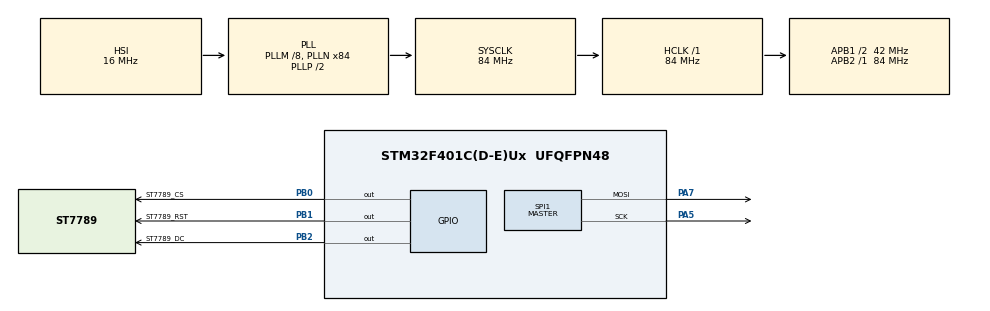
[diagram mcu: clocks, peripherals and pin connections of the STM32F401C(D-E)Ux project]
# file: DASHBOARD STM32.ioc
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Mcu.Family=STM32F4
Mcu.Name=STM32F401C(D-E)Ux
Mcu.Package=UFQFPN48
NVIC.PriorityGroup=NVIC_PRIORITYGROUP_4
PA5.Mode=TX_Only_Simplex_Unidirect_Master
PA5.Signal=SPI1_SCK
PA7.Mode=TX_Only_Simplex_Unidirect_Master
PA7.Signal=SPI1_MOSI
PB0.GPIO_Label=ST7789_CS
PB0.Signal=GPIO_Output
PB1.GPIO_Label=ST7789_RST
PB1.Signal=GPIO_Output
PB2.GPIO_Label=ST7789_DC
PB2.Signal=GPIO_Output
PH0\ -\ OSC_IN.Mode=HSE-External-Oscillator
PH0\ -\ OSC_IN.Signal=RCC_OSC_IN
PH1\ -\ OSC_OUT.Mode=HSE-External-Oscillator
PH1\ -\ OSC_OUT.Signal=RCC_OSC_OUT
ProjectManager.HeapSize=0x200
ProjectManager.StackSize=0x400
ProjectManager.TargetToolchain=STM32CubeIDE
RCC.48MHZClocksFreq_Value=42000000
RCC.AHBFreq_Value=84000000
RCC.APB1CLKDivider=RCC_HCLK_DIV2
RCC.APB1Freq_Value=42000000
RCC.APB1TimFreq_Value=84000000
RCC.APB2Freq_Value=84000000
RCC.APB2TimFreq_Value=84000000
RCC.CortexFreq_Value=84000000
RCC.HCLKFreq_Value=84000000
RCC.HSE_VALUE=25000000
RCC.HSI_VALUE=16000000
RCC.LSE_VALUE=32768
RCC.PLLM=8
RCC.PLLN=84
RCC.SYSCLKFreq_VALUE=84000000
RCC.SYSCLKSource=RCC_SYSCLKSOURCE_PLLCLK
RCC.VCOOutputFreq_Value=168000000
SPI1.CLKPhase=SPI_PHASE_2EDGE
SPI1.CLKPolarity=SPI_POLARITY_HIGH
SPI1.Direction=SPI_DIRECTION_2LINES
SPI1.Mode=SPI_MODE_MASTER
SPI1.VirtualType=VM_MASTER
board=custom

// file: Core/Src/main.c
/* USER CODE BEGIN Header */
/**
  ******************************************************************************
  * @file           : main.c
  * @brief          : Main program body
  ******************************************************************************
  * @attention
  *
  * Copyright (c) 2023 STMicroelectronics.
  * All rights reserved.
  *
  * This software is licensed under terms that can be found in the LICENSE file
  * in the root directory of this software component.
  * If no LICENSE file comes with this software, it is provided AS-IS.
  *
  ******************************************************************************
  */
/* USER CODE END Header */
#include "main.h"

/* USER CODE BEGIN Includes */
#include "math.h"
#include "st7789.h"
#include "stdio.h"
#include <stdlib.h>

#define RED2RED 0
#define GREEN2GREEN 1
#define BLUE2BLUE 2
#define BLUE2RED 3
#define GREEN2RED 4
#define RED2GREEN 5
#define BWHITE 6
//#define Aqua 7

#define BYELLOW 8

uint16_t color2,color1;

uint16_t RGB(uint8_t r, uint8_t g, uint8_t b)
{
	return ((r & 0xF8) << 8) | ((g & 0xFC) << 3) | (b >> 3);
}
//

int cx=80;
int cy=84;
int r=68;
float x[360]; //outer points of Speed gaouges
float y[360];
float px[360]; //ineer point of Speed gaouges
float py[360];
float lx[360]; //text of Speed gaouges
float ly[360];
float nx[360]; //needle low of Speed gaouges
float ny[360];
float x2[360]; //outer points of RPM gaouges
float y2[360];
float px2[360]; //ineer point of RPM gaouges
float py2[360];
float lx2[360]; //text of RPM gaouges
float ly2[360];
float nx2[360]; //needle low of RPM gaouges
float ny2[360];
float sA;
float rA;
float rad=0.01745;

float speedAngle=0; //...speed variable 0-240
float rpmAngle=5;  //.....RPM variable 0-9

char buf[20];

/* USER CODE END Includes */

SPI_HandleTypeDef hspi1;

void SystemClock_Config(void);
static void MX_GPIO_Init(void);
static void MX_SPI1_Init(void);

int main(void)
{

  /* MCU Configuration--------------------------------------------------------*/

  /* Reset of all peripherals, Initializes the Flash interface and the Systick. */
  HAL_Init();

  /* Configure the system clock */
  SystemClock_Config();

  /* Initialize all configured peripherals */
  MX_GPIO_Init();
  MX_SPI1_Init();
  /* USER CODE BEGIN 2 */
  ST7789_Init();
//	IIC_Init();

//	unsigned int x,y;
//	char buf[20];

//	ST7789_Test();

  int a=120;
  for(int i=0;i<360;i++)
    {
       x[i]=((r-10)*cos(rad*a))+cx;
       y[i]=((r-10)*sin(rad*a))+cy;
       px[i]=((r-14)*cos(rad*a))+cx;
       py[i]=((r-14)*sin(rad*a))+cy;
       lx[i]=((r-24)*cos(rad*a))+cx;
       ly[i]=((r-24)*sin(rad*a))+cy;
       nx[i]=((r-36)*cos(rad*a))+cx;
       ny[i]=((r-36)*sin(rad*a))+cy;
       x2[i]=((r-10)*cos(rad*a))+320-cx;
       y2[i]=((r-10)*sin(rad*a))+cy;
       px2[i]=((r-14)*cos(rad*a))+320-cx;
       py2[i]=((r-14)*sin(rad*a))+cy;
       lx2[i]=((r-24)*cos(rad*a))+320-cx;
       ly2[i]=((r-24)*sin(rad*a))+cy;
       nx2[i]=((r-36)*cos(rad*a))+320-cx;
       ny2[i]=((r-36)*sin(rad*a))+cy;

       a++;
       if(a==360)
       a=0;
    }

  ST7789_Fill_Color(BLACK);
  ringMeter(1020, 0, 1020, 5, 10, 75,3, Aqua);
  ringMeter(1020, 0, 1020, 165, 10, 75,3, Aqua);

  ringMeter1(0, 0, 1020, 13, 18, 67,2,WHITE, BWHITE);
  ringMeter1(0, 0, 1020, 173, 18, 67,2,WHITE, BWHITE);

	  ringMeter1(825, 0, 1020, 20, 25, 60,2,MAGENTA, BWHITE);

//	  ringMeter1(800, 0, 1020, 180, 25, 60,2,MAGENTA,BWHITE);

	     for(int i=0;i<26;i++){
	     if(i<20) {color1=Aqua; color2=WHITE;} else {color1=MAGENTA; color2=MAGENTA;}

	  if(i%2==0) {
		  ST7789_DrawLine(x[i*12],y[i*12],px[i*12],py[i*12],color1);

	  sprintf(buf, "%d", i);
	  ST7789_WriteString(lx[i*12]-5, ly[i*12]-5, buf, Font_7x10, YELLOW, BLACK);
	  }else
		  ST7789_DrawLine(x[i*12],y[i*12],px[i*12],py[i*12],color2);
	  }

	      for(int i=0;i<19;i++){
	      if(i<20) {color1=Aqua; color2=WHITE;} else {color1=MAGENTA; color2=MAGENTA;}

	  if(i%2==0) {
		  ST7789_DrawLine(x2[i*16],y2[i*16],px2[i*16],py2[i*16],color1);

	  sprintf(buf, "%d", i/2);
	  ST7789_WriteString(lx2[i*16]-3, ly2[i*16]-3, buf, Font_7x10, YELLOW, BLACK);
	  }else
		  ST7789_DrawLine(x2[i*16],y2[i*16],px2[i*16],py2[i*16],color2);
	  }

	  ST7789_WriteString(60, 140, "SPEED", Font_7x10, YELLOW, BLACK);
	  ST7789_WriteString(60, 150, "x10", Font_7x10, YELLOW, BLACK);

	  ST7789_WriteString(225, 140, "RPM", Font_7x10, YELLOW, BLACK);
	  ST7789_WriteString(225, 150, "x1000", Font_7x10, YELLOW, BLACK);

	  fillTriangle(130, 15, 150, 5, 150, 25, BLUE);
	  fillTriangle(170, 5, 170, 25, 190, 15, BLUE);

  /* USER CODE END 2 */

  /* Infinite loop */
  while (1)
  {

	  for (int i = 0; i <= 1019; i+=50) {

		    ringMeter(i, 0, 1020, 50, 55, 30,7, GREEN2RED);
		    ringMeter(i, 0, 1020, 210, 55, 30,7, GREEN2RED);

			  fillTriangle(130, 15, 150, 5, 150, 25, BLUE);
			  fillTriangle(170, 5, 170, 25, 190, 15, BLUE);
			  ST7789_DrawFilledCircle(310, 10, 5, RED);
			  ST7789_DrawFilledRectangle(0, 5, 10, 10, GREEN);

			  HAL_Delay(300);
			  fillTriangle(130, 15, 150, 5, 150, 25, YELLOW);
			  fillTriangle(170, 5, 170, 25, 190, 15, YELLOW);
			  ST7789_DrawFilledCircle(310, 10, 5, BLACK);
			  ST7789_DrawFilledRectangle(0, 5, 10, 10, BLACK);

			  HAL_Delay(300);
			  fillTriangle(130, 15, 150, 5, 150, 25, BLUE);
			  fillTriangle(170, 5, 170, 25, 190, 15, BLUE);
			  ST7789_DrawFilledCircle(310, 10, 5, RED);
			  ST7789_DrawFilledRectangle(0, 5, 10, 10, GREEN);

	  }

//	  ringMeter(500, 0, 1020, 100, 120, 60, BLUE2BLUE);
  }
}

void SystemClock_Config(void)
{
  RCC_OscInitTypeDef RCC_OscInitStruct = {0};
  RCC_ClkInitTypeDef RCC_ClkInitStruct = {0};

  /** Configure the main internal regulator output voltage
  */
  __HAL_RCC_PWR_CLK_ENABLE();
  __HAL_PWR_VOLTAGESCALING_CONFIG(PWR_REGULATOR_VOLTAGE_SCALE2);

  /** Initializes the RCC Oscillators according to the specified parameters
  * in the RCC_OscInitTypeDef structure.
  */
  RCC_OscInitStruct.OscillatorType = RCC_OSCILLATORTYPE_HSI;
  RCC_OscInitStruct.HSIState = RCC_HSI_ON;
  RCC_OscInitStruct.HSICalibrationValue = RCC_HSICALIBRATION_DEFAULT;
  RCC_OscInitStruct.PLL.PLLState = RCC_PLL_ON;
  RCC_OscInitStruct.PLL.PLLSource = RCC_PLLSOURCE_HSI;
  RCC_OscInitStruct.PLL.PLLM = 8;
  RCC_OscInitStruct.PLL.PLLN = 84;
  RCC_OscInitStruct.PLL.PLLP = RCC_PLLP_DIV2;
  RCC_OscInitStruct.PLL.PLLQ = 4;
  if (HAL_RCC_OscConfig(&RCC_OscInitStruct) != HAL_OK)
  {
    Error_Handler();
  }

  /** Initializes the CPU, AHB and APB buses clocks
  */
  RCC_ClkInitStruct.ClockType = RCC_CLOCKTYPE_HCLK|RCC_CLOCKTYPE_SYSCLK
                              |RCC_CLOCKTYPE_PCLK1|RCC_CLOCKTYPE_PCLK2;
  RCC_ClkInitStruct.SYSCLKSource = RCC_SYSCLKSOURCE_PLLCLK;
  RCC_ClkInitStruct.AHBCLKDivider = RCC_SYSCLK_DIV1;
  RCC_ClkInitStruct.APB1CLKDivider = RCC_HCLK_DIV2;
  RCC_ClkInitStruct.APB2CLKDivider = RCC_HCLK_DIV1;

  if (HAL_RCC_ClockConfig(&RCC_ClkInitStruct, FLASH_LATENCY_2) != HAL_OK)
  {
    Error_Handler();
  }
}

static void MX_SPI1_Init(void)
{

  /* SPI1 parameter configuration*/
  hspi1.Instance = SPI1;
  hspi1.Init.Mode = SPI_MODE_MASTER;
  hspi1.Init.Direction = SPI_DIRECTION_2LINES;
  hspi1.Init.DataSize = SPI_DATASIZE_8BIT;
  hspi1.Init.CLKPolarity = SPI_POLARITY_HIGH;
  hspi1.Init.CLKPhase = SPI_PHASE_2EDGE;
  hspi1.Init.NSS = SPI_NSS_SOFT;
  hspi1.Init.BaudRatePrescaler = SPI_BAUDRATEPRESCALER_2;
  hspi1.Init.FirstBit = SPI_FIRSTBIT_MSB;
  hspi1.Init.TIMode = SPI_TIMODE_DISABLE;
  hspi1.Init.CRCCalculation = SPI_CRCCALCULATION_DISABLE;
  hspi1.Init.CRCPolynomial = 10;
  if (HAL_SPI_Init(&hspi1) != HAL_OK)
  {
    Error_Handler();
  }

}

static void MX_GPIO_Init(void)
{
  GPIO_InitTypeDef GPIO_InitStruct = {0};

  /* GPIO Ports Clock Enable */
  __HAL_RCC_GPIOH_CLK_ENABLE();
  __HAL_RCC_GPIOA_CLK_ENABLE();
  __HAL_RCC_GPIOB_CLK_ENABLE();

  /*Configure GPIO pin Output Level */
  HAL_GPIO_WritePin(GPIOB, ST7789_CS_Pin|ST7789_RST_Pin|ST7789_DC_Pin, GPIO_PIN_RESET);

  /*Configure GPIO pins : ST7789_CS_Pin ST7789_RST_Pin ST7789_DC_Pin */
  GPIO_InitStruct.Pin = ST7789_CS_Pin|ST7789_RST_Pin|ST7789_DC_Pin;
  GPIO_InitStruct.Mode = GPIO_MODE_OUTPUT_PP;
  GPIO_InitStruct.Pull = GPIO_NOPULL;
  GPIO_InitStruct.Speed = GPIO_SPEED_FREQ_LOW;
  HAL_GPIO_Init(GPIOB, &GPIO_InitStruct);

}

void Error_Handler(void)
{
  __disable_irq();
  while (1)
  {
  }
}
